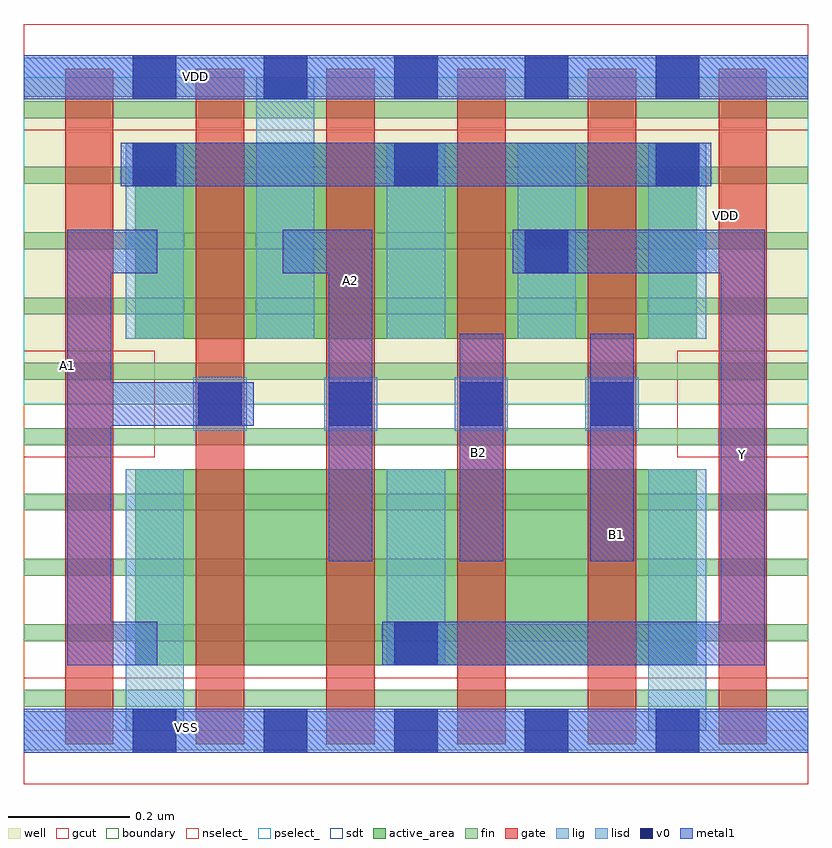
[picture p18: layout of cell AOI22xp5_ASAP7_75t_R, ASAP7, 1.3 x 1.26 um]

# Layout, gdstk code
import gdstk
lib = gdstk.Library(unit=1e-6, precision=1e-09)
def R(c, l, rs):  # rectangles x0, y0, x1, y1
    for r in rs: c.add(gdstk.rectangle(r[:2], r[2:], *l))
def A(c, l, x, y, w, h, nx, ny, dx, dy):  # array of equal rectangles
    R(c, l, [(x+i*dx, y+j*dy, x+i*dx+w, y+j*dy+h) for i in range(nx) for j in range(ny)])
def P(c, l, *ps):  # polygons
    for p in ps: c.add(gdstk.Polygon(p, *l))
well = (1, 0)
fin = (2, 0)
gate = (7, 0)
gcut = (10, 0)
active_area = (11, 0)
nselect_ = (12, 0)
pselect_ = (13, 0)
lig = (16, 0)
lisd = (17, 0)
v0 = (18, 0)
metal1 = (19, 0)
sdt = (88, 0)
boundary = (100, 0)

aoi22xp5_asap7_75t_r = lib.new_cell('AOI22xp5_ASAP7_75t_R')
R(aoi22xp5_asap7_75t_r, well, [(0,0.54,1.296,1.08)])
A(aoi22xp5_asap7_75t_r, fin, 0, 0.04, 1.296, 0.028, 1, 10, 0, 0.108)
A(aoi22xp5_asap7_75t_r, gate, 0.068, -0.022, 0.08, 1.116, 6, 1, 0.216, 0)
R(aoi22xp5_asap7_75t_r, gcut, [(0,-0.088,1.296,0.088), (0,0.452,0.216,0.628), (1.08,0.452,1.296,0.628), (0,0.992,1.296,1.168)])
R(aoi22xp5_asap7_75t_r, active_area, [(0.184,0.108,1.112,0.432), (0.184,0.648,1.112,0.972)])
R(aoi22xp5_asap7_75t_r, nselect_, [(0,0,1.296,0.54)])
R(aoi22xp5_asap7_75t_r, pselect_, [(0,0.54,1.296,1.08)])
A(aoi22xp5_asap7_75t_r, lig, 0.28, 0.496, 0.088, 0.088, 4, 1, 0.216, 0)
R(aoi22xp5_asap7_75t_r, lig, [(0,-0.032,1.296,0.032), (0,1.048,1.296,1.112)])
A(aoi22xp5_asap7_75t_r, lisd, 0.6, 0.648, 0.096, 0.324, 3, 1, 0.216, 0)
R(aoi22xp5_asap7_75t_r, lisd, [(0.168,0,0.264,0.432), (1.032,0,1.128,0.432), (0.6,0.108,0.696,0.432), (0.168,0.648,0.264,0.972), (0.384,0.648,0.48,1.08)])
A(aoi22xp5_asap7_75t_r, v0, 0.18, -0.036, 0.072, 0.072, 5, 2, 0.216, 1.08)
A(aoi22xp5_asap7_75t_r, v0, 0.288, 0.504, 0.072, 0.072, 4, 1, 0.216, 0)
A(aoi22xp5_asap7_75t_r, v0, 0.18, 0.9, 0.072, 0.072, 3, 1, 0.432, 0)
R(aoi22xp5_asap7_75t_r, v0, [(0.612,0.108,0.684,0.18), (0.828,0.756,0.9,0.828)])
R(aoi22xp5_asap7_75t_r, metal1, [(0,-0.036,1.296,0.036), (0.72,0.28,0.792,0.656), (0.936,0.28,1.008,0.656), (0.16,0.9,1.136,0.972), (0,1.044,1.296,1.116)])
P(aoi22xp5_asap7_75t_r, metal1, [(0.592,0.108),(0.592,0.18),(1.152,0.18),(1.152,0.756),(0.808,0.756),(0.808,0.828),(1.224,0.828),(1.224,0.108)],
  [(0.072,0.108),(0.072,0.828),(0.22,0.828),(0.22,0.756),(0.144,0.756),(0.144,0.576),(0.38,0.576),(0.38,0.504),(0.144,0.504),(0.144,0.18),(0.22,0.18),(0.22,0.108)],
  [(0.504,0.28),(0.504,0.756),(0.428,0.756),(0.428,0.828),(0.576,0.828),(0.576,0.28)])
A(aoi22xp5_asap7_75t_r, sdt, 0.168, 0.108, 0.096, 0.324, 3, 1, 0.432, 0)
A(aoi22xp5_asap7_75t_r, sdt, 0.168, 0.648, 0.096, 0.324, 5, 1, 0.216, 0)
R(aoi22xp5_asap7_75t_r, boundary, [(0,0,1.296,1.08)])
aoi22xp5_asap7_75t_r.add(gdstk.Label('A1', (0.072,0.604), layer=19, texttype=251))
aoi22xp5_asap7_75t_r.add(gdstk.Label('Y', (1.188,0.456), layer=19, texttype=251))
aoi22xp5_asap7_75t_r.add(gdstk.Label('A2', (0.54,0.744), layer=19, texttype=251))
aoi22xp5_asap7_75t_r.add(gdstk.Label('VDD', (0.284,1.082), layer=19, texttype=251))
aoi22xp5_asap7_75t_r.add(gdstk.Label('B2', (0.752,0.46), layer=19, texttype=251))
aoi22xp5_asap7_75t_r.add(gdstk.Label('B1', (0.98,0.324), layer=19, texttype=251))
aoi22xp5_asap7_75t_r.add(gdstk.Label('VSS', (0.268,0.006), layer=19, texttype=251))
aoi22xp5_asap7_75t_r.add(gdstk.Label('VDD', (1.16,0.852), layer=1, texttype=251))
aoi22xp5_asap7_75t_r.add(gdstk.Label('VSS', (0.828,-0.184), layer=3, texttype=251))

lib.write_gds('AOI22xp5_ASAP7_75t_R.gds')
